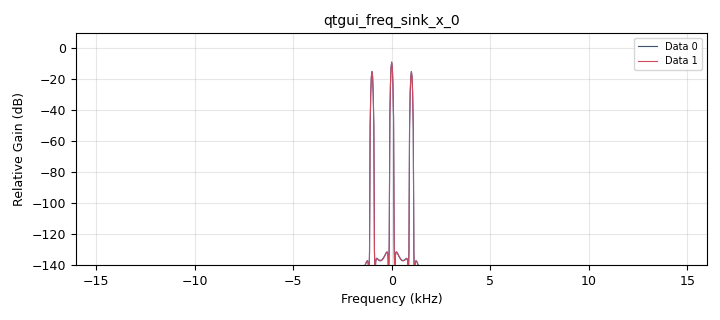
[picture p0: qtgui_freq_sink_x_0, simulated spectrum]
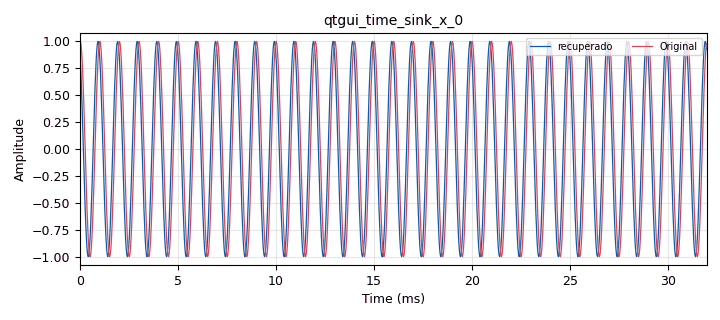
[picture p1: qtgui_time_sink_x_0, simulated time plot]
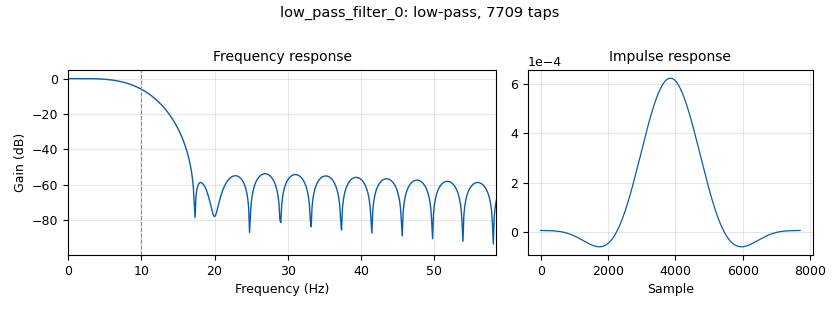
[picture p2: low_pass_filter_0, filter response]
options:
  parameters:
    generate_options: qt_gui
    id: top_block
    output_language: python
  states: {}

blocks:
- name: m
  id: variable_qtgui_range
  parameters:
    label: m
    outputmsgname: value
    showports: 'False'
    start: '0'
    step: '0.1'
    stop: '1'
    value: '1'
  states: {}
- name: ruido
  id: variable_qtgui_range
  parameters:
    label: ruido
    outputmsgname: value
    showports: 'False'
    start: '0'
    step: '0.1'
    stop: '1'
    value: '0'
  states: {}
- name: samp_rate
  id: variable
  parameters:
    value: '32000'
  states: {}
- name: analog_const_source_x_0
  id: analog_const_source_x
  parameters:
    comment: A
    const: '1'
    type: float
  states: {}
- name: analog_sig_source_x_0
  id: analog_sig_source_x
  parameters:
    amp: m
    freq: '1000'
    offset: '0'
    phase: '0'
    samp_rate: samp_rate
    type: float
    waveform: analog.GR_COS_WAVE
  states: {}
- name: audio_sink_0
  id: audio_sink
  parameters:
    samp_rate: samp_rate
  states: {state: disabled}
- name: blocks_add_xx_1
  id: blocks_add_xx
  parameters:
    comment: |-
      suma portadora con mensaje
      A+cos(wm.t)
    type: float
  states: {}
- name: blocks_complex_to_mag_0
  id: blocks_complex_to_mag
  parameters:
    comment: |-
      El demodulador impelemtado como 
      un detector de envolvente
  states: {}
- name: blocks_complex_to_mag_0_0
  id: blocks_complex_to_mag
  parameters:
    comment: nivel de la portadora
  states: {}
- name: blocks_float_to_complex_0
  id: blocks_float_to_complex
  parameters:
    comment: la modulacion es la parte real de la senal
  states: {}
- name: blocks_sub_xx_0
  id: blocks_sub_xx
  parameters:
    type: float
  states: {}
- name: channels_channel_model_0
  id: channels_channel_model
  parameters:
    epsilon: '1.0'
    freq_offset: '0.0'
    noise_voltage: ruido
    seed: '0'
    taps: '1'
  states: {}
- name: import_0
  id: import
  parameters:
    imports: import numpy as np
  states: {}
- name: low_pass_filter_0
  id: low_pass_filter
  parameters:
    cutoff_freq: '10'
    decim: '1'
    gain: '1'
    samp_rate: samp_rate
    type: fir_filter_ccf
    width: '10'
    win: window.WIN_HAMMING
  states: {}
- name: qtgui_freq_sink_x_0
  id: qtgui_freq_sink_x
  parameters:
    bw: samp_rate
    fc: '0'
    fftsize: '1024'
    label2: ''
    nconnections: '2'
    showports: 'True'
    type: complex
  states: {}
- name: qtgui_time_sink_x_0
  id: qtgui_time_sink_x
  parameters:
    label1: recuperado
    label2: Original
    nconnections: '2'
    size: '1024'
    srate: samp_rate
    type: float
  states: {}
- name: virtual_sink_0
  id: virtual_sink
  parameters:
    stream_id: canalIn
  states: {}
- name: virtual_sink_0_0
  id: virtual_sink
  parameters:
    stream_id: canalOut
  states: {}
- name: virtual_source_0
  id: virtual_source
  parameters:
    stream_id: canalIn
  states: {}
- name: virtual_source_0_0
  id: virtual_source
  parameters:
    stream_id: canalOut
  states: {}
- name: virtual_source_0_0_0
  id: virtual_source
  parameters:
    stream_id: canalOut
  states: {}
- name: virtual_source_0_1
  id: virtual_source
  parameters:
    stream_id: canalIn
  states: {}

connections:
- [analog_const_source_x_0, '0', blocks_add_xx_1, '1']
- [analog_sig_source_x_0, '0', blocks_add_xx_1, '0']
- [analog_sig_source_x_0, '0', qtgui_time_sink_x_0, '1']
- [blocks_add_xx_1, '0', blocks_float_to_complex_0, '0']
- [blocks_complex_to_mag_0, '0', blocks_sub_xx_0, '0']
- [blocks_complex_to_mag_0_0, '0', blocks_sub_xx_0, '1']
- [blocks_float_to_complex_0, '0', virtual_sink_0, '0']
- [blocks_sub_xx_0, '0', audio_sink_0, '0']
- [blocks_sub_xx_0, '0', qtgui_time_sink_x_0, '0']
- [channels_channel_model_0, '0', virtual_sink_0_0, '0']
- [low_pass_filter_0, '0', blocks_complex_to_mag_0_0, '0']
- [virtual_source_0, '0', channels_channel_model_0, '0']
- [virtual_source_0_0, '0', blocks_complex_to_mag_0, '0']
- [virtual_source_0_0, '0', low_pass_filter_0, '0']
- [virtual_source_0_0_0, '0', qtgui_freq_sink_x_0, '1']
- [virtual_source_0_1, '0', qtgui_freq_sink_x_0, '0']

metadata:
  file_format: 1
  grc_version: 3.10.4.0
